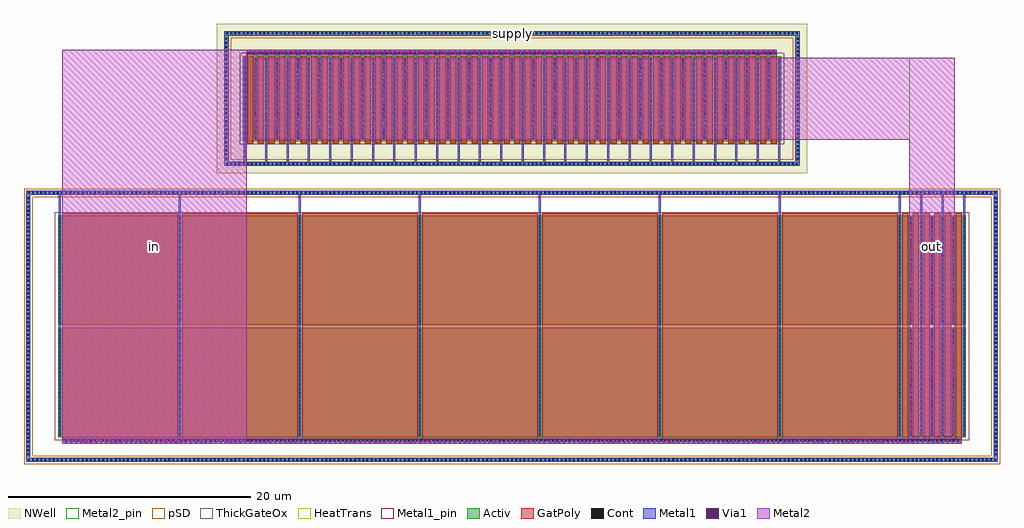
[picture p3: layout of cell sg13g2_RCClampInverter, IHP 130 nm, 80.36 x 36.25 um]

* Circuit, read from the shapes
.subckt sg13g2_RCClampInverter in out supply
XM1 VSUBS in VSUBS VSUBS sg13_hv_nmos w=9u l=9.5u m=14
XM2 out in VSUBS VSUBS sg13_hv_nmos w=9u l=0.5u m=12
XM3 out in supply supply sg13_hv_pmos w=7u l=0.5u m=50
.ends

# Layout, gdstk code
import gdstk
lib = gdstk.Library(unit=1e-6, precision=1e-09)
def R(c, l, rs):  # rectangles x0, y0, x1, y1
    for r in rs: c.add(gdstk.rectangle(r[:2], r[2:], *l))
def A(c, l, x, y, w, h, nx, ny, dx, dy):  # array of equal rectangles
    R(c, l, [(x+i*dx, y+j*dy, x+i*dx+w, y+j*dy+h) for i in range(nx) for j in range(ny)])
def P(c, l, *ps):  # polygons
    for p in ps: c.add(gdstk.Polygon(p, *l))
Activ = (1, 0)
GatPoly = (5, 0)
Cont = (6, 0)
Metal1 = (8, 0)
Metal1_pin = (8, 2)
Metal2 = (10, 0)
Metal2_pin = (10, 2)
pSD = (14, 0)
Via1 = (19, 0)
NWell = (31, 0)
ThickGateOx = (44, 0)
HeatTrans = (51, 0)

sg13g2_guardring_p16000w = lib.new_cell('sg13g2_GuardRing_P16000W4466HFT')
P(sg13g2_guardring_p16000w, Activ, [(-40,-11.165),(-40,10.825),(-39.66,10.825),(-39.66,-10.825),(39.66,-10.825),(39.66,10.825),(-40,10.825),(-40,11.165),(40,11.165),(40,-11.165)])
A(sg13g2_guardring_p16000w, Cont, -39.86, -11.075, 0.16, 0.16, 235, 2, 0.34, 21.99)
A(sg13g2_guardring_p16000w, Cont, -39.91, -10.62, 0.16, 0.16, 1, 63, 0, 0.34)
A(sg13g2_guardring_p16000w, Cont, 39.75, -10.62, 0.16, 0.16, 1, 63, 0, 0.34)
P(sg13g2_guardring_p16000w, Metal1, [(-40,-11.165),(-40,10.825),(-39.66,10.825),(-39.66,-10.825),(39.66,-10.825),(39.66,10.825),(-40,10.825),(-40,11.165),(40,11.165),(40,-11.165)])
P(sg13g2_guardring_p16000w, pSD, [(-40.18,-11.345),(-40.18,10.645),(-39.48,10.645),(-39.48,-10.645),(39.48,-10.645),(39.48,10.645),(-40.18,10.645),(-40.18,11.345),(40.18,11.345),(40.18,-11.345)])

sg13g2_guardring_n9472w2 = lib.new_cell('sg13g2_GuardRing_N9472W2216HTT')
P(sg13g2_guardring_n9472w2, Activ, [(-23.68,-5.54),(-23.68,5.2),(-23.34,5.2),(-23.34,-5.2),(23.34,-5.2),(23.34,5.2),(-23.68,5.2),(-23.68,5.54),(23.68,5.54),(23.68,-5.54)])
A(sg13g2_guardring_n9472w2, Cont, -23.54, -5.45, 0.16, 0.16, 139, 2, 0.34, 10.74)
A(sg13g2_guardring_n9472w2, Cont, -23.59, -5.01, 0.16, 0.16, 1, 30, 0, 0.34)
A(sg13g2_guardring_n9472w2, Cont, 23.43, -5.01, 0.16, 0.16, 1, 30, 0, 0.34)
P(sg13g2_guardring_n9472w2, Metal1, [(-23.68,-5.54),(-23.68,5.2),(-23.34,5.2),(-23.34,-5.2),(23.34,-5.2),(23.34,5.2),(-23.68,5.2),(-23.68,5.54),(23.68,5.54),(23.68,-5.54)])
R(sg13g2_guardring_n9472w2, pSD, [(-23.16,-5.02,23.16,5.02)])
R(sg13g2_guardring_n9472w2, NWell, [(-24.3,-6.16,24.3,6.16)])

sg13g2_rcclampinverter = lib.new_cell('sg13g2_RCClampInverter')
R(sg13g2_rcclampinverter, Activ, [(2.63,2.04,77.37,11.04), (2.63,11.29,77.37,20.29), (17.85,26.41,62.15,33.41)])
P(sg13g2_rcclampinverter, GatPoly, [(18.19,26.23),(18.19,33.78),(61.81,33.78),(61.81,26.23),(61.31,26.23),(61.31,33.48),(60.93,33.48),(60.93,26.23),(60.43,26.23),(60.43,33.48),(60.05,33.48),(60.05,26.23),(59.55,26.23),(59.55,33.48),(59.17,33.48),(59.17,26.23),(58.67,26.23),(58.67,33.48),(58.29,33.48),(58.29,26.23),(57.79,26.23),(57.79,33.48),(57.41,33.48),(57.41,26.23),(56.91,26.23),(56.91,33.48),(56.53,33.48),(56.53,26.23),(56.03,26.23),(56.03,33.48),(55.65,33.48),(55.65,26.23),(55.15,26.23),(55.15,33.48),(54.77,33.48),(54.77,26.23),(54.27,26.23),(54.27,33.48),(53.89,33.48),(53.89,26.23),(53.39,26.23),(53.39,33.48),(53.01,33.48),(53.01,26.23),(52.51,26.23),(52.51,33.48),(52.13,33.48),(52.13,26.23),(51.63,26.23),(51.63,33.48),(51.25,33.48),(51.25,26.23),(50.75,26.23),(50.75,33.48),(50.37,33.48),(50.37,26.23),(49.87,26.23),(49.87,33.48),(49.49,33.48),(49.49,26.23),(48.99,26.23),(48.99,33.48),(48.61,33.48),(48.61,26.23),(48.11,26.23),(48.11,33.48),(47.73,33.48),(47.73,26.23),(47.23,26.23),(47.23,33.48),(46.85,33.48),(46.85,26.23),(46.35,26.23),(46.35,33.48),(45.97,33.48),(45.97,26.23),(45.47,26.23),(45.47,33.48),(45.09,33.48),(45.09,26.23),(44.59,26.23),(44.59,33.48),(44.21,33.48),(44.21,26.23),(43.71,26.23),(43.71,33.48),(43.33,33.48),(43.33,26.23),(42.83,26.23),(42.83,33.48),(42.45,33.48),(42.45,26.23),(41.95,26.23),(41.95,33.48),(41.57,33.48),(41.57,26.23),(41.07,26.23),(41.07,33.48),(40.69,33.48),(40.69,26.23),(40.19,26.23),(40.19,33.48),(39.81,33.48),(39.81,26.23),(39.31,26.23),(39.31,33.48),(38.93,33.48),(38.93,26.23),(38.43,26.23),(38.43,33.48),(38.05,33.48),(38.05,26.23),(37.55,26.23),(37.55,33.48),(37.17,33.48),(37.17,26.23),(36.67,26.23),(36.67,33.48),(36.29,33.48),(36.29,26.23),(35.79,26.23),(35.79,33.48),(35.41,33.48),(35.41,26.23),(34.91,26.23),(34.91,33.48),(34.53,33.48),(34.53,26.23),(34.03,26.23),(34.03,33.48),(33.65,33.48),(33.65,26.23),(33.15,26.23),(33.15,33.48),(32.77,33.48),(32.77,26.23),(32.27,26.23),(32.27,33.48),(31.89,33.48),(31.89,26.23),(31.39,26.23),(31.39,33.48),(31.01,33.48),(31.01,26.23),(30.51,26.23),(30.51,33.48),(30.13,33.48),(30.13,26.23),(29.63,26.23),(29.63,33.48),(29.25,33.48),(29.25,26.23),(28.75,26.23),(28.75,33.48),(28.37,33.48),(28.37,26.23),(27.87,26.23),(27.87,33.48),(27.49,33.48),(27.49,26.23),(26.99,26.23),(26.99,33.48),(26.61,33.48),(26.61,26.23),(26.11,26.23),(26.11,33.48),(25.73,33.48),(25.73,26.23),(25.23,26.23),(25.23,33.48),(24.85,33.48),(24.85,26.23),(24.35,26.23),(24.35,33.48),(23.97,33.48),(23.97,26.23),(23.47,26.23),(23.47,33.48),(23.09,33.48),(23.09,26.23),(22.59,26.23),(22.59,33.48),(22.21,33.48),(22.21,26.23),(21.71,26.23),(21.71,33.48),(21.33,33.48),(21.33,26.23),(20.83,26.23),(20.83,33.48),(20.45,33.48),(20.45,26.23),(19.95,26.23),(19.95,33.48),(19.57,33.48),(19.57,26.23),(19.07,26.23),(19.07,33.48),(18.69,33.48),(18.69,26.23)],
  [(2.97,1.67),(2.97,20.47),(12.47,20.47),(12.47,1.97),(12.85,1.97),(12.85,20.47),(22.35,20.47),(22.35,1.97),(22.73,1.97),(22.73,20.47),(32.23,20.47),(32.23,1.97),(32.61,1.97),(32.61,20.47),(42.11,20.47),(42.11,1.97),(42.49,1.97),(42.49,20.47),(51.99,20.47),(51.99,1.97),(52.37,1.97),(52.37,20.47),(61.87,20.47),(61.87,1.97),(62.25,1.97),(62.25,20.47),(71.75,20.47),(71.75,1.97),(72.13,1.97),(72.13,20.47),(72.63,20.47),(72.63,1.97),(73.01,1.97),(73.01,20.47),(73.51,20.47),(73.51,1.97),(73.89,1.97),(73.89,20.47),(74.39,20.47),(74.39,1.97),(74.77,1.97),(74.77,20.47),(75.27,20.47),(75.27,1.97),(75.65,1.97),(75.65,20.47),(76.15,20.47),(76.15,1.97),(76.53,1.97),(76.53,20.47),(77.03,20.47),(77.03,1.67)])
A(sg13g2_rcclampinverter, Cont, 3.2, 1.74, 0.16, 0.16, 217, 1, 0.34, 0)
A(sg13g2_rcclampinverter, Cont, 2.7, 2.21, 0.16, 0.16, 8, 26, 9.88, 0.34)
A(sg13g2_rcclampinverter, Cont, 72.74, 2.21, 0.16, 0.16, 6, 26, 0.88, 0.34)
A(sg13g2_rcclampinverter, Cont, 2.7, 11.46, 0.16, 0.16, 8, 26, 9.88, 0.34)
A(sg13g2_rcclampinverter, Cont, 72.74, 11.46, 0.16, 0.16, 6, 26, 0.88, 0.34)
A(sg13g2_rcclampinverter, Cont, 17.92, 26.6, 0.16, 0.16, 51, 20, 0.88, 0.34)
A(sg13g2_rcclampinverter, Cont, 18.33, 33.55, 0.16, 0.16, 128, 1, 0.34, 0)
A(sg13g2_rcclampinverter, Metal1, 2.7, 2.13, 0.16, 20.2, 8, 1, 9.88, 0)
A(sg13g2_rcclampinverter, Metal1, 72.715, 2.13, 0.21, 8.82, 3, 2, 1.76, 9.25)
A(sg13g2_rcclampinverter, Metal1, 73.62, 2.13, 0.16, 20.2, 3, 1, 1.76, 0)
A(sg13g2_rcclampinverter, Metal1, 17.92, 24.37, 0.16, 8.93, 26, 1, 1.76, 0)
A(sg13g2_rcclampinverter, Metal1, 18.775, 26.52, 0.21, 6.78, 25, 1, 1.76, 0)
R(sg13g2_rcclampinverter, Metal1, [(2.97,1.505,77.03,1.9), (18.19,33.55,61.81,33.925), (16.32,35.11,63.68,35.45)])
R(sg13g2_rcclampinverter, Metal1_pin, [(16.32,35.11,63.68,35.45)])
P(sg13g2_rcclampinverter, Metal2, [(2.97,1.51),(2.97,33.92),(61.81,33.92),(61.81,33.72),(18.15,33.72),(18.15,1.71),(77.03,1.71),(77.03,1.51)],
  [(72.72,2.13),(72.72,26.52),(18.78,26.52),(18.78,33.3),(76.44,33.3),(76.44,2.13)])
R(sg13g2_rcclampinverter, Metal2_pin, [(2.97,1.51,18.15,33.92), (72.72,2.13,76.44,33.3)])
R(sg13g2_rcclampinverter, pSD, [(17.67,26.01,62.33,33.81)])
A(sg13g2_rcclampinverter, Via1, 3.21, 1.515, 0.19, 0.19, 180, 1, 0.41, 0)
A(sg13g2_rcclampinverter, Via1, 72.725, 2.345, 0.19, 0.19, 3, 21, 1.76, 0.41)
A(sg13g2_rcclampinverter, Via1, 72.725, 11.595, 0.19, 0.19, 3, 21, 1.76, 0.41)
A(sg13g2_rcclampinverter, Via1, 18.785, 26.74, 0.19, 0.19, 25, 16, 1.76, 0.41)
A(sg13g2_rcclampinverter, Via1, 18.38, 33.725, 0.19, 0.19, 106, 1, 0.41, 0)
A(sg13g2_rcclampinverter, NWell, 17.23, 25.79, 1.54, 8.24, 49, 1, 0.88, 0)
R(sg13g2_rcclampinverter, NWell, [(17.34,25.79,62.66,34.03), (60.35,25.79,62.77,34.03)])
P(sg13g2_rcclampinverter, ThickGateOx, [(2.47,1.77),(2.47,1.78),(2.36,1.78),(2.36,20.55),(2.47,20.55),(2.47,20.56),(77.53,20.56),(77.53,20.55),(77.64,20.55),(77.64,1.78),(77.53,1.78),(77.53,1.77)],
  [(17.69,26.14),(17.69,26.15),(17.58,26.15),(17.58,33.67),(17.69,33.67),(17.69,33.68),(62.31,33.68),(62.31,33.67),(62.42,33.67),(62.42,26.15),(62.31,26.15),(62.31,26.14)])
A(sg13g2_rcclampinverter, HeatTrans, 72.09, 2.01, 0.565, 9.055, 6, 2, 0.88, 9.24)
A(sg13g2_rcclampinverter, HeatTrans, 18.135, 26.34, 0.605, 7.115, 50, 1, 0.88, 0)
R(sg13g2_rcclampinverter, HeatTrans, [(22.675,1.96,32.29,11.065), (2.9,1.97,12.52,11.065), (32.525,1.97,42.17,11.065), (52.29,1.97,61.925,11.065), (42.42,1.98,52.04,11.07), (62.17,1.98,71.815,11.065), (12.79,1.995,22.415,11.07), (22.675,11.225,32.29,20.33), (2.9,11.235,12.52,20.33), (32.525,11.235,42.17,20.33), (52.29,11.235,61.925,20.33), (42.42,11.245,52.04,20.335), (62.17,11.245,71.815,20.33), (12.79,11.26,22.415,20.335)])
sg13g2_rcclampinverter.add(gdstk.Reference(sg13g2_guardring_p16000w, (40,11.165)))
sg13g2_rcclampinverter.add(gdstk.Reference(sg13g2_guardring_n9472w2, (40,29.91)))
sg13g2_rcclampinverter.add(gdstk.Label('supply', (40,35.28), layer=8, texttype=25))
sg13g2_rcclampinverter.add(gdstk.Label('in', (10.56,17.715), layer=10, texttype=25))
sg13g2_rcclampinverter.add(gdstk.Label('out', (74.58,17.715), layer=10, texttype=25))

lib.write_gds('sg13g2_RCClampInverter.gds')
